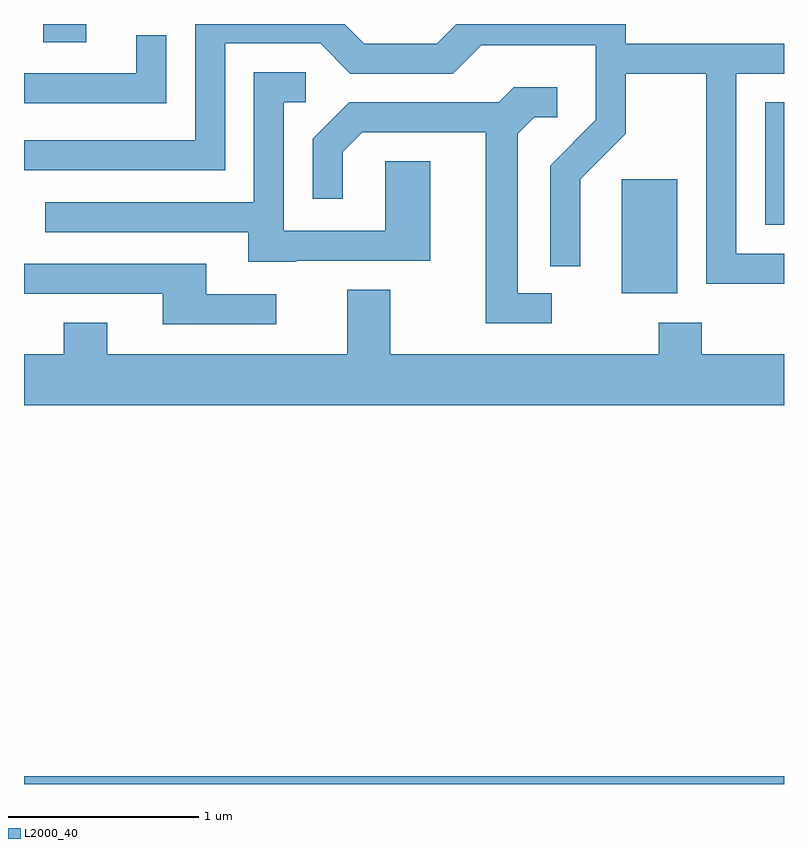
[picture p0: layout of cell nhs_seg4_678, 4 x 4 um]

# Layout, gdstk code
import gdstk
lib = gdstk.Library(unit=1e-6, precision=1e-09)
def R(c, l, rs):  # rectangles x0, y0, x1, y1
    for r in rs: c.add(gdstk.rectangle(r[:2], r[2:], *l))
def P(c, l, *ps):  # polygons
    for p in ps: c.add(gdstk.Polygon(p, *l))
L2000_40 = (2000, 40)

nhs_seg4_678 = lib.new_cell('nhs_seg4_678')
R(nhs_seg4_678, L2000_40, [(203.611,1385.982,207.611,1386.024), (206.756,1388.566,207.049,1389.164), (207.511,1388.926,207.611,1389.569), (203.711,1389.886,203.939,1389.982)])
P(nhs_seg4_678, L2000_40, [(207.611,1388.774),(207.359,1388.774),(207.359,1389.721),(207.611,1389.721),(207.611,1389.879),(206.779,1389.879),(206.779,1389.982),(205.887,1389.982),(205.784,1389.879),(205.402,1389.879),(205.299,1389.982),(204.511,1389.982),(204.511,1389.369),(203.611,1389.369),(203.611,1389.211),(204.669,1389.211),(204.669,1389.881),(205.169,1389.881),(205.329,1389.721),(205.867,1389.721),(206.017,1389.871),(206.621,1389.871),(206.621,1389.477),(206.381,1389.237),(206.381,1388.708),(206.539,1388.708),(206.539,1389.164),(206.779,1389.404),(206.779,1389.721),(207.201,1389.721),(207.201,1388.616),(207.611,1388.616)],
  [(204.359,1389.923),(204.201,1389.923),(204.201,1389.724),(203.611,1389.724),(203.611,1389.566),(204.359,1389.566)],
  [(205.045,1388.736),(205.749,1388.736),(205.749,1389.259),(205.511,1389.259),(205.511,1388.894),(204.979,1388.894),(204.979,1389.571),(205.093,1389.571),(205.093,1389.729),(204.821,1389.729),(204.821,1389.044),(203.723,1389.044),(203.723,1388.886),(204.791,1388.886),(204.791,1388.731),(205.045,1388.731)],
  [(206.388,1388.564),(206.209,1388.564),(206.209,1389.404),(206.297,1389.491),(206.418,1389.491),(206.418,1389.649),(206.189,1389.649),(206.109,1389.569),(205.324,1389.569),(205.131,1389.377),(205.131,1389.063),(205.289,1389.063),(205.289,1389.309),(205.392,1389.411),(206.041,1389.411),(206.041,1388.406),(206.388,1388.406)],
  [(204.938,1388.559),(204.569,1388.559),(204.569,1388.719),(203.611,1388.719),(203.611,1388.561),(204.341,1388.561),(204.341,1388.401),(204.938,1388.401)],
  [(207.611,1388.244),(207.179,1388.244),(207.179,1388.409),(206.951,1388.409),(206.951,1388.244),(205.539,1388.244),(205.539,1388.584),(205.311,1388.584),(205.311,1388.244),(204.049,1388.244),(204.049,1388.409),(203.821,1388.409),(203.821,1388.244),(203.611,1388.244),(203.611,1387.976),(207.611,1387.976)])

lib.write_gds('nhs_seg4_678.gds')
